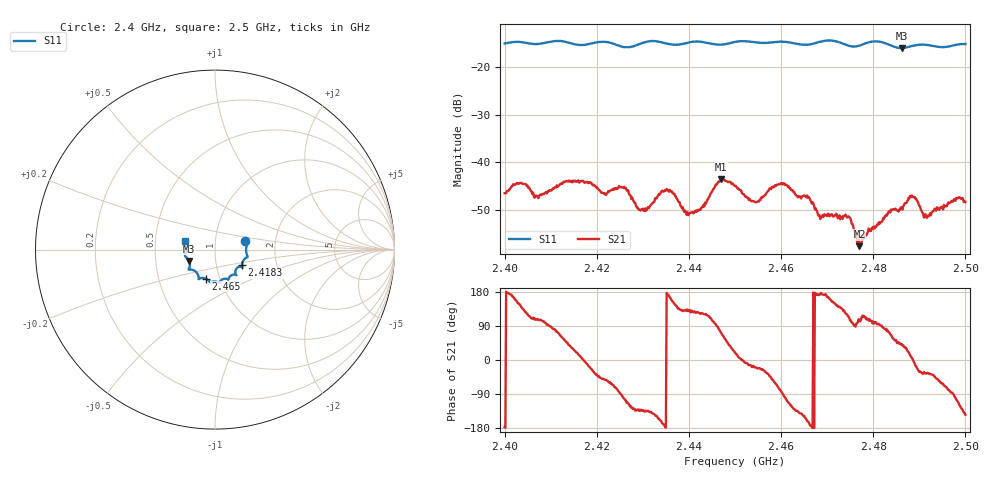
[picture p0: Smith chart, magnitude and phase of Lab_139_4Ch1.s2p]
# Hz S RI R 50
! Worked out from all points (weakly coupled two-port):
!   601 points, 2.4 GHz to 2.5 GHz, reference 50 ohm
!   highest |S21| = -43.57 dB at 2.447 GHz (marker M1); lowest = -57.6 dB at 2.477 GHz (marker M2)
!   lowest |S11| = -16.1 dB at 2.4862 GHz (marker M3), VSWR 1.37, Z = 37.2 - j4.83 ohm
!   |S11| at or under -10 dB: start of sweep to end of sweep
!   S12 and S22 are empty: the file has one direction only
!   S11 on the Smith chart (normalised r, x): 2.4 GHz: 1.40, +0.14; 2.4183 GHz: 1.33, -0.24; 2.465 GHz: 0.86, -0.28; 2.5 GHz: 0.71, +0.07
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2.4e9  0.1688 0.0471  -0.00474 -0.000252  0 0  0 0
2.416667e9  0.1546 -0.0681  0.00635 0.000709  0 0  0 0
2.418333e9  0.1502 -0.0869  0.00592 -0.00183  0 0  0 0
2.425833e9  0.1267 -0.099  -0.00102 -0.00529  0 0  0 0
2.429833e9  0.1138 -0.1355  -0.0022 -0.00232  0 0  0 0
2.433333e9  0.1176 -0.141  -0.0041 -0.00195  0 0  0 0
2.435833e9  0.1018 -0.1391  -0.00498 0.00125  0 0  0 0
2.440333e9  0.0757 -0.1647  -0.00173 0.00241  0 0  0 0
2.447e9  0.0442 -0.1648  0.00208 0.0063  0 0  0 0
2.45e9  0.0262 -0.1801  0.00534 0.00189  0 0  0 0
2.454167e9  0.0134 -0.1805  0.00366 -0.00127  0 0  0 0
2.460167e9  -0.0272 -0.1812  0.00045 -0.00604  0 0  0 0
2.465e9  -0.0524 -0.1615  -0.00378 -0.00242  0 0  0 0
2.466667e9  -0.0713 -0.1577  -0.0037 -0.000212  0 0  0 0
2.468667e9  -0.0877 -0.1618  -0.00266 0.000148  0 0  0 0
2.4745e9  -0.0974 -0.1359  -0.00117 0.00243  0 0  0 0
2.477e9  -0.1216 -0.1138  -0.000297 0.00129  0 0  0 0
2.483333e9  -0.1412 -0.0964  0.000872 0.00292  0 0  0 0
2.486167e9  -0.1436 -0.0633  0.00249 0.00228  0 0  0 0
2.4885e9  -0.1596 -0.0434  0.00442 0.000316  0 0  0 0
2.4915e9  -0.1668 -0.0316  0.00215 -0.00155  0 0  0 0
2.5e9  -0.1665 0.0469  -0.00313 -0.00223  0 0  0 0
